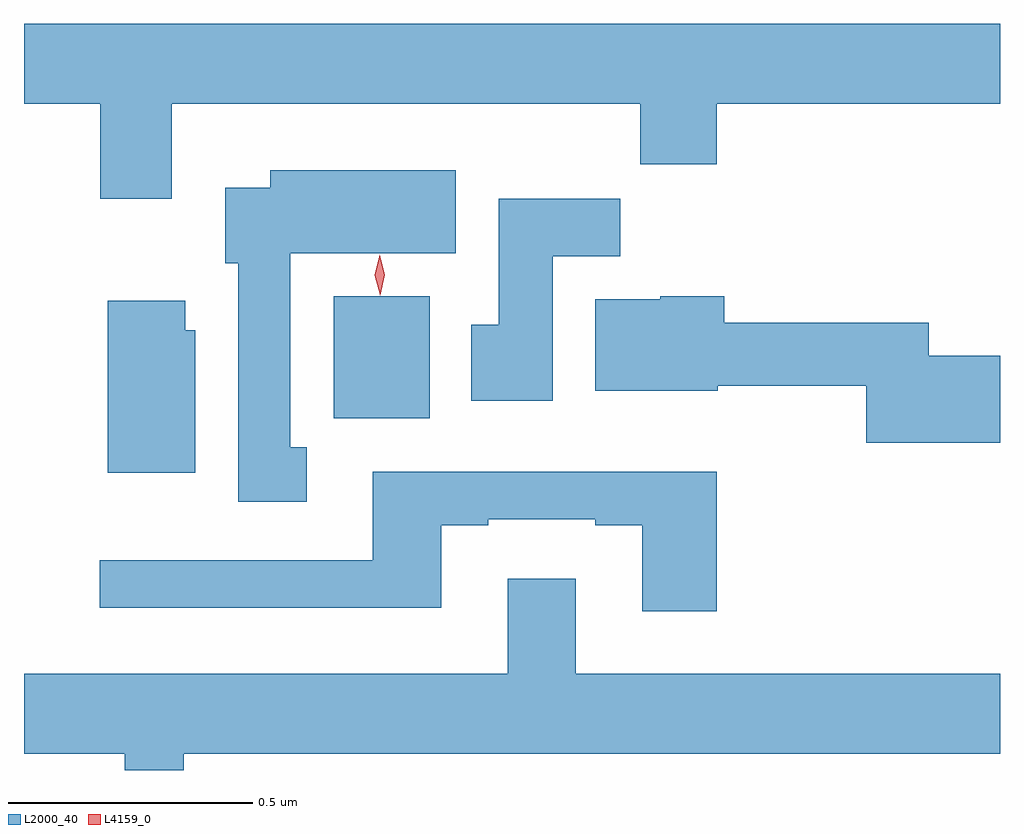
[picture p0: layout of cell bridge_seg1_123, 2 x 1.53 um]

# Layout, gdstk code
import gdstk
lib = gdstk.Library(unit=1e-6, precision=1e-09)
def R(c, l, rs):  # rectangles x0, y0, x1, y1
    for r in rs: c.add(gdstk.rectangle(r[:2], r[2:], *l))
def P(c, l, *ps):  # polygons
    for p in ps: c.add(gdstk.Polygon(p, *l))
L2000_40 = (2000, 40)
L4159_0 = (4159, 0)

bridge_seg1_123 = lib.new_cell('bridge_seg1_123')
R(bridge_seg1_123, L2000_40, [(319.431,571.068,319.627,571.318)])
P(bridge_seg1_123, L2000_40, [(319.099,571.712),(320.059,571.712),(320.059,571.588),(320.216,571.588),(320.216,571.712),(320.796,571.712),(320.796,571.876),(318.796,571.876),(318.796,571.712),(318.952,571.712),(318.952,571.518),(319.099,571.518)],
  [(319.375,571.009),(319.342,571.009),(319.342,571.406),(319.681,571.406),(319.681,571.576),(319.301,571.576),(319.301,571.54),(319.208,571.54),(319.208,571.386),(319.235,571.386),(319.235,570.897),(319.375,570.897)],
  [(319.879,571.4),(320.018,571.4),(320.018,571.518),(319.769,571.518),(319.769,571.26),(319.712,571.26),(319.712,571.104),(319.879,571.104)],
  [(320.796,571.196),(320.65,571.196),(320.65,571.264),(320.231,571.264),(320.231,571.318),(320.1,571.318),(320.1,571.312),(319.967,571.312),(319.967,571.124),(320.218,571.124),(320.218,571.135),(320.522,571.135),(320.522,571.018),(320.796,571.018)],
  [(319.147,571.248),(319.126,571.248),(319.126,571.309),(318.968,571.309),(318.968,570.956),(319.147,570.956)],
  [(320.216,570.958),(319.511,570.958),(319.511,570.777),(318.951,570.777),(318.951,570.68),(319.651,570.68),(319.651,570.849),(319.747,570.849),(319.747,570.861),(319.967,570.861),(319.967,570.849),(320.063,570.849),(320.063,570.672),(320.216,570.672)],
  [(319.123,570.38),(320.796,570.38),(320.796,570.544),(319.927,570.544),(319.927,570.739),(319.787,570.739),(319.787,570.544),(318.796,570.544),(318.796,570.38),(319.002,570.38),(319.002,570.347),(319.123,570.347)])
P(bridge_seg1_123, L4159_0, [(319.526,571.32),(319.526,571.32),(319.515,571.361),(319.525,571.403),(319.525,571.403),(319.525,571.403),(319.535,571.362),(319.526,571.32)])

lib.write_gds('bridge_seg1_123.gds')
